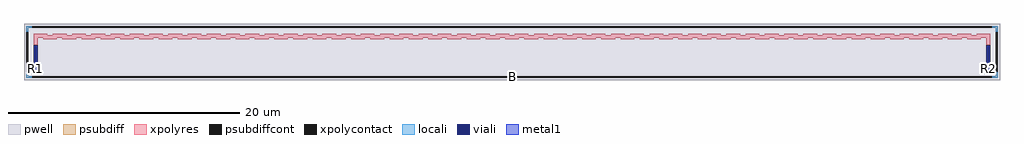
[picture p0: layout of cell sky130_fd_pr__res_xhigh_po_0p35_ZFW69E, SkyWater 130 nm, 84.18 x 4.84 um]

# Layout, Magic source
magic
tech sky130A
magscale 1 2
<< pwell >>
rect -8418 -484 8418 484
<< psubdiff >>
rect -8382 414 -8286 448
rect 8286 414 8382 448
rect -8382 352 -8348 414
rect 8348 352 8382 414
rect -8382 -414 -8348 -352
rect 8348 -414 8382 -352
rect -8382 -448 -8286 -414
rect 8286 -448 8382 -414
<< psubdiffcont >>
rect -8286 414 8286 448
rect -8382 -352 -8348 352
rect 8348 -352 8382 352
rect -8286 -448 8286 -414
<< xpolycontact >>
rect -8252 -318 -8182 114
rect 8182 -318 8252 114
<< xpolyres >>
rect -8252 288 -8016 318
rect -7920 288 -7684 318
rect -7588 288 -7352 318
rect -7256 288 -7020 318
rect -6924 288 -6688 318
rect -6592 288 -6356 318
rect -6260 288 -6024 318
rect -5928 288 -5692 318
rect -5596 288 -5360 318
rect -5264 288 -5028 318
rect -4932 288 -4696 318
rect -4600 288 -4364 318
rect -4268 288 -4032 318
rect -3936 288 -3700 318
rect -3604 288 -3368 318
rect -3272 288 -3036 318
rect -2940 288 -2704 318
rect -2608 288 -2372 318
rect -2276 288 -2040 318
rect -1944 288 -1708 318
rect -1612 288 -1376 318
rect -1280 288 -1044 318
rect -948 288 -712 318
rect -616 288 -380 318
rect -284 288 -48 318
rect 48 288 284 318
rect 380 288 616 318
rect 712 288 948 318
rect 1044 288 1280 318
rect 1376 288 1612 318
rect 1708 288 1944 318
rect 2040 288 2276 318
rect 2372 288 2608 318
rect 2704 288 2940 318
rect 3036 288 3272 318
rect 3368 288 3604 318
rect 3700 288 3936 318
rect 4032 288 4268 318
rect 4364 288 4600 318
rect 4696 288 4932 318
rect 5028 288 5264 318
rect 5360 288 5596 318
rect 5692 288 5928 318
rect 6024 288 6260 318
rect 6356 288 6592 318
rect 6688 288 6924 318
rect 7020 288 7256 318
rect 7352 288 7588 318
rect 7684 288 7920 318
rect 8016 288 8252 318
rect -8252 248 8252 288
rect -8252 114 -8182 248
rect -8086 218 -7850 248
rect -7754 218 -7518 248
rect -7422 218 -7186 248
rect -7090 218 -6854 248
rect -6758 218 -6522 248
rect -6426 218 -6190 248
rect -6094 218 -5858 248
rect -5762 218 -5526 248
rect -5430 218 -5194 248
rect -5098 218 -4862 248
rect -4766 218 -4530 248
rect -4434 218 -4198 248
rect -4102 218 -3866 248
rect -3770 218 -3534 248
rect -3438 218 -3202 248
rect -3106 218 -2870 248
rect -2774 218 -2538 248
rect -2442 218 -2206 248
rect -2110 218 -1874 248
rect -1778 218 -1542 248
rect -1446 218 -1210 248
rect -1114 218 -878 248
rect -782 218 -546 248
rect -450 218 -214 248
rect -118 218 118 248
rect 214 218 450 248
rect 546 218 782 248
rect 878 218 1114 248
rect 1210 218 1446 248
rect 1542 218 1778 248
rect 1874 218 2110 248
rect 2206 218 2442 248
rect 2538 218 2774 248
rect 2870 218 3106 248
rect 3202 218 3438 248
rect 3534 218 3770 248
rect 3866 218 4102 248
rect 4198 218 4434 248
rect 4530 218 4766 248
rect 4862 218 5098 248
rect 5194 218 5430 248
rect 5526 218 5762 248
rect 5858 218 6094 248
rect 6190 218 6426 248
rect 6522 218 6758 248
rect 6854 218 7090 248
rect 7186 218 7422 248
rect 7518 218 7754 248
rect 7850 218 8086 248
rect 8182 114 8252 248
<< locali >>
rect -8382 414 -8286 448
rect 8286 414 8382 448
rect -8382 352 -8348 414
rect 8348 352 8382 414
rect -8382 -414 -8348 -352
rect 8348 -414 8382 -352
rect -8382 -448 -8286 -414
rect 8286 -448 8382 -414
<< viali >>
rect -8236 -300 -8198 97
rect 8198 -300 8236 97
<< metal1 >>
rect -8242 97 -8192 109
rect -8242 -300 -8236 97
rect -8198 -300 -8192 97
rect -8242 -312 -8192 -300
rect 8192 97 8242 109
rect 8192 -300 8198 97
rect 8236 -300 8242 97
rect 8192 -312 8242 -300
<< labels >>
rlabel psubdiffcont 0 -431 0 -431 0 B
port 4 nsew
rlabel xpolycontact -8217 -283 -8217 -283 0 R1
port 5 nsew
rlabel xpolycontact 8217 -283 8217 -283 0 R2
port 6 nsew
<< properties >>
string FIXED_BBOX -8365 -431 8365 431
string gencell sky130_fd_pr__res_xhigh_po_0p35
string library sky130
string parameters w 0.35 l 0.5 m 1 nx 100 wmin 0.350 lmin 0.50 class resistor rho 2000 val 484.789k dummy 0 dw 0.0 term 188.2 sterm 0.0 caplen 0 wmax 0.350 guard 1 glc 1 grc 1 gtc 1 gbc 1 compatible {sky130_fd_pr__res_xhigh_po_0p35  sky130_fd_pr__res_xhigh_po_0p69 sky130_fd_pr__res_xhigh_po_1p41  sky130_fd_pr__res_xhigh_po_2p85 sky130_fd_pr__res_xhigh_po_5p73} snake 1 full_metal 1 n_guard 0 hv_guard 0 vias 1 viagb 0 viagt 0 viagl 0 viagr 0 doports 1
<< end >>
